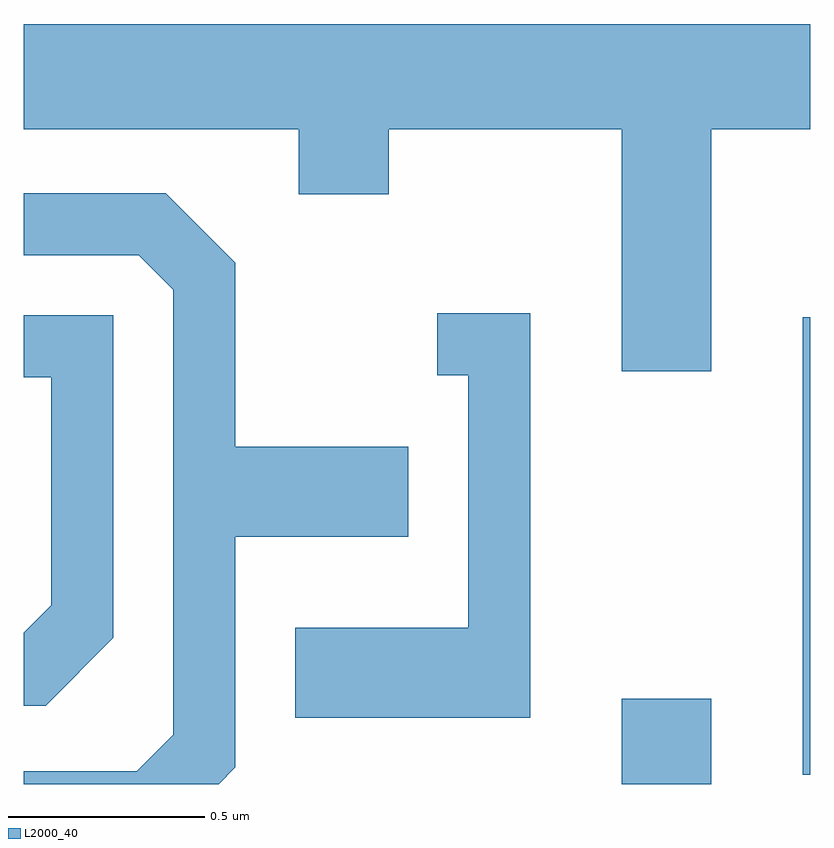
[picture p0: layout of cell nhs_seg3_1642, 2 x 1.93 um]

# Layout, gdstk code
import gdstk
lib = gdstk.Library(unit=1e-6, precision=1e-09)
def R(c, l, rs):  # rectangles x0, y0, x1, y1
    for r in rs: c.add(gdstk.rectangle(r[:2], r[2:], *l))
def P(c, l, *ps):  # polygons
    for p in ps: c.add(gdstk.Polygon(p, *l))
L2000_40 = (2000, 40)

nhs_seg3_1642 = lib.new_cell('nhs_seg3_1642')
R(nhs_seg3_1642, L2000_40, [(198.131,1250.892,198.359,1251.109), (198.591,1250.916,198.611,1252.079)])
P(nhs_seg3_1642, L2000_40, [(198.359,1252.556),(198.611,1252.556),(198.611,1252.824),(196.611,1252.824),(196.611,1252.556),(197.311,1252.556),(197.311,1252.391),(197.539,1252.391),(197.539,1252.556),(198.131,1252.556),(198.131,1251.941),(198.359,1251.941)],
  [(197.149,1250.934),(197.149,1251.521),(197.589,1251.521),(197.589,1251.749),(197.149,1251.749),(197.149,1252.217),(196.972,1252.394),(196.611,1252.394),(196.611,1252.236),(196.904,1252.236),(196.991,1252.149),(196.991,1251.017),(196.899,1250.924),(196.611,1250.924),(196.611,1250.892),(197.107,1250.892)],
  [(197.899,1252.089),(197.663,1252.089),(197.663,1251.931),(197.741,1251.931),(197.741,1251.289),(197.301,1251.289),(197.301,1251.061),(197.899,1251.061)],
  [(196.839,1251.264),(196.839,1252.084),(196.611,1252.084),(196.611,1251.926),(196.681,1251.926),(196.681,1251.347),(196.611,1251.276),(196.611,1251.091),(196.667,1251.091)])

lib.write_gds('nhs_seg3_1642.gds')
